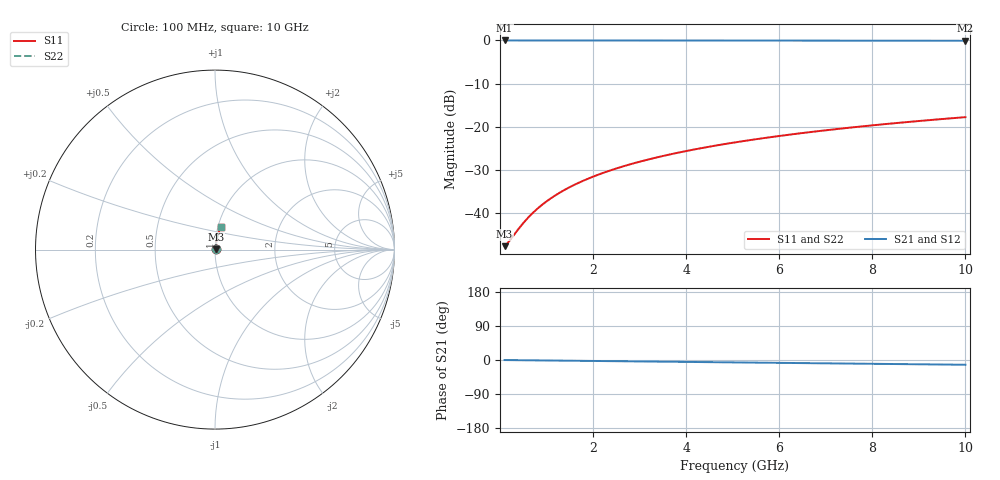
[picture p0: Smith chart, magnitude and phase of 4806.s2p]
# Hz S RI R 50.00
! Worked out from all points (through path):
!   100 points, 100 MHz to 10 GHz, reference 50 ohm
!   highest |S21| = -0.03 dB at 100 MHz (marker M1); lowest = -0.1 dB at 10 GHz (marker M2)
!   group delay of S21, straight-line fit = 3.48 ps
!   lowest |S11| = -47.6 dB at 100 MHz (marker M3), VSWR 1.01, Z = 50.4 + j0.131 ohm
!   |S11| at or under -10 dB: start of sweep to end of sweep
!   |S22| runs from -47.6 to -17.8 dB; largest |S21 - S12| = 0
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1e8  0.00394 0.0013  0.9961 -0.00219  0.9961 -0.00219  0.00394 0.0013
2e8  0.00397 0.00259  0.996 -0.00438  0.996 -0.00438  0.00397 0.00259
4e8  0.00404 0.00519  0.9959 -0.00875  0.9959 -0.00875  0.00404 0.00519
5e8  0.00408 0.00648  0.9959 -0.0109  0.9959 -0.0109  0.00408 0.00648
6e8  0.00412 0.00778  0.9959 -0.0131  0.9959 -0.0131  0.00412 0.00778
7e8  0.00417 0.00908  0.9958 -0.0153  0.9958 -0.0153  0.00417 0.00908
9e8  0.00428 0.0117  0.9957 -0.0197  0.9957 -0.0197  0.00428 0.0117
1.1e9  0.00441 0.0143  0.9955 -0.0241  0.9955 -0.0241  0.00441 0.0143
1.3e9  0.00456 0.0168  0.9954 -0.0284  0.9954 -0.0284  0.00456 0.0168
1.5e9  0.00473 0.0194  0.9952 -0.0328  0.9952 -0.0328  0.00473 0.0194
1.8e9  0.00503 0.0233  0.9948 -0.0394  0.9948 -0.0394  0.00503 0.0233
2.1e9  0.00538 0.0272  0.9944 -0.0459  0.9944 -0.0459  0.00538 0.0272
2.5e9  0.00592 0.0323  0.9938 -0.0546  0.9938 -0.0546  0.00592 0.0323
2.9e9  0.00655 0.0375  0.9931 -0.0633  0.9931 -0.0633  0.00655 0.0375
3.4e9  0.00747 0.0439  0.992 -0.0742  0.992 -0.0742  0.00747 0.0439
4.2e9  0.00922 0.0541  0.99 -0.0916  0.99 -0.0916  0.00922 0.0541
5.1e9  0.0116 0.0655  0.9873 -0.111  0.9873 -0.111  0.0116 0.0655
5.9e9  0.0141 0.0755  0.9845 -0.1282  0.9845 -0.1282  0.0141 0.0755
6.7e9  0.017 0.0854  0.9812 -0.1452  0.9812 -0.1452  0.017 0.0854
7.5e9  0.0201 0.0952  0.9775 -0.1622  0.9775 -0.1622  0.0201 0.0952
8.4e9  0.0241 0.1061  0.973 -0.1811  0.973 -0.1811  0.0241 0.1061
1e10  0.0322 0.1249  0.9637 -0.2144  0.9637 -0.2144  0.0322 0.1249
